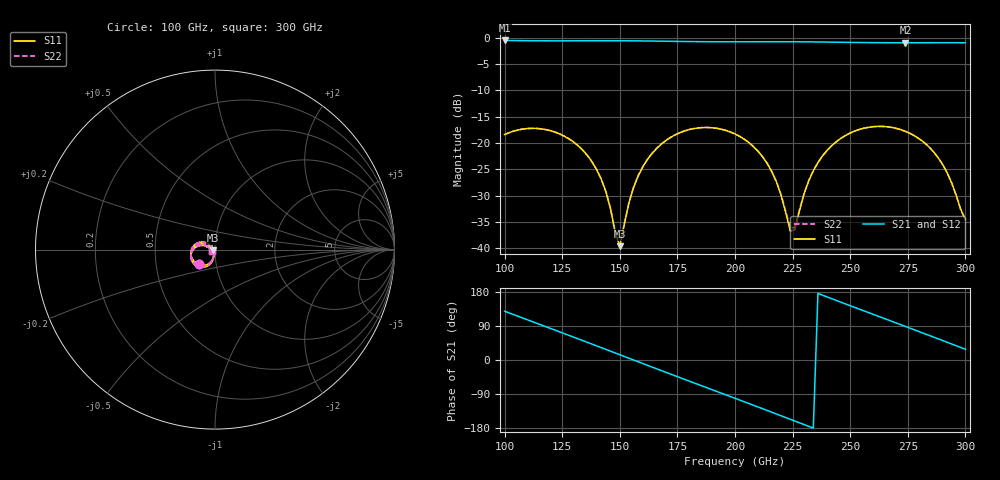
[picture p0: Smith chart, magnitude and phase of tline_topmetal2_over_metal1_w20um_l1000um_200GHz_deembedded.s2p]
! Created with skrf 2.2.0 (http://scikit-rf.org).
# GHz S DB R 50.0
! Port[1] = P1
! Port[2] = P2
!freq dBS11 angS11 dBS21 angS21 dBS12 angS12 dBS22 angS22
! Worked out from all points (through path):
!   101 points, 100 GHz to 300 GHz, reference 50 ohm
!   highest |S21| = -0.56 dB at 100 GHz (marker M1); lowest = -1.0 dB at 274 GHz (marker M2)
!   group delay of S21, straight-line fit = 6.4 ps
!   lowest |S11| = -39.6 dB at 150 GHz (marker M3), VSWR 1.02, Z = 49.1 - j0.482 ohm
!   |S11| at or under -10 dB: start of sweep to end of sweep
!   |S22| runs from -39.4 to -16.9 dB; largest |S21 - S12| = 1.1e-14
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100  -18.40 -138.2  -0.56 128.8  -0.56 128.8  -18.40 -138.1
118  -17.48 -177.1  -0.63 87.7  -0.63 87.7  -17.48 -177.0
134  -21.40 150.1  -0.62 51.0  -0.62 51.0  -21.41 150.3
142  -26.92 138.4  -0.61 32.5  -0.61 32.5  -26.94 138.8
150  -39.57 -152.1  -0.62 13.9  -0.62 13.9  -39.43 -151.3
154  -31.30 -104.1  -0.63 4.6  -0.63 4.6  -31.24 -104.1
158  -26.22 -103.0  -0.64 -4.7  -0.64 -4.7  -26.19 -102.9
168  -20.22 -119.1  -0.70 -27.8  -0.70 -27.8  -20.20 -118.9
184  -17.15 -151.9  -0.78 -64.5  -0.78 -64.5  -17.14 -151.7
200  -18.30 175.1  -0.81 -101.0  -0.81 -101.0  -18.28 175.5
214  -23.92 150.4  -0.80 -133.2  -0.80 -133.2  -23.88 151.3
220  -29.92 150.0  -0.80 -147.2  -0.80 -147.2  -29.79 151.6
224  -36.71 -175.6  -0.81 -156.5  -0.81 -156.5  -36.18 -174.4
226  -36.45 -132.8  -0.81 -161.1  -0.81 -161.1  -35.97 -134.4
230  -29.63 -101.5  -0.82 -170.4  -0.82 -170.4  -29.54 -103.0
234  -25.26 -100.5  -0.84 -179.7  -0.84 -179.7  -25.23 -101.3
248  -18.57 -123.1  -0.92 147.9  -0.92 147.9  -18.56 -123.4
258  -17.02 -143.1  -0.97 125.0  -0.97 125.0  -17.02 -143.2
268  -17.05 -163.2  -1.00 102.2  -1.00 102.2  -17.05 -163.3
274  -17.80 -175.0  -1.00 88.5  -1.00 88.5  -17.80 -175.1
288  -22.68 161.5  -0.99 56.2  -0.99 56.2  -22.70 161.4
300  -34.47 -154.5  -0.99 28.3  -0.99 28.3  -34.59 -154.1
